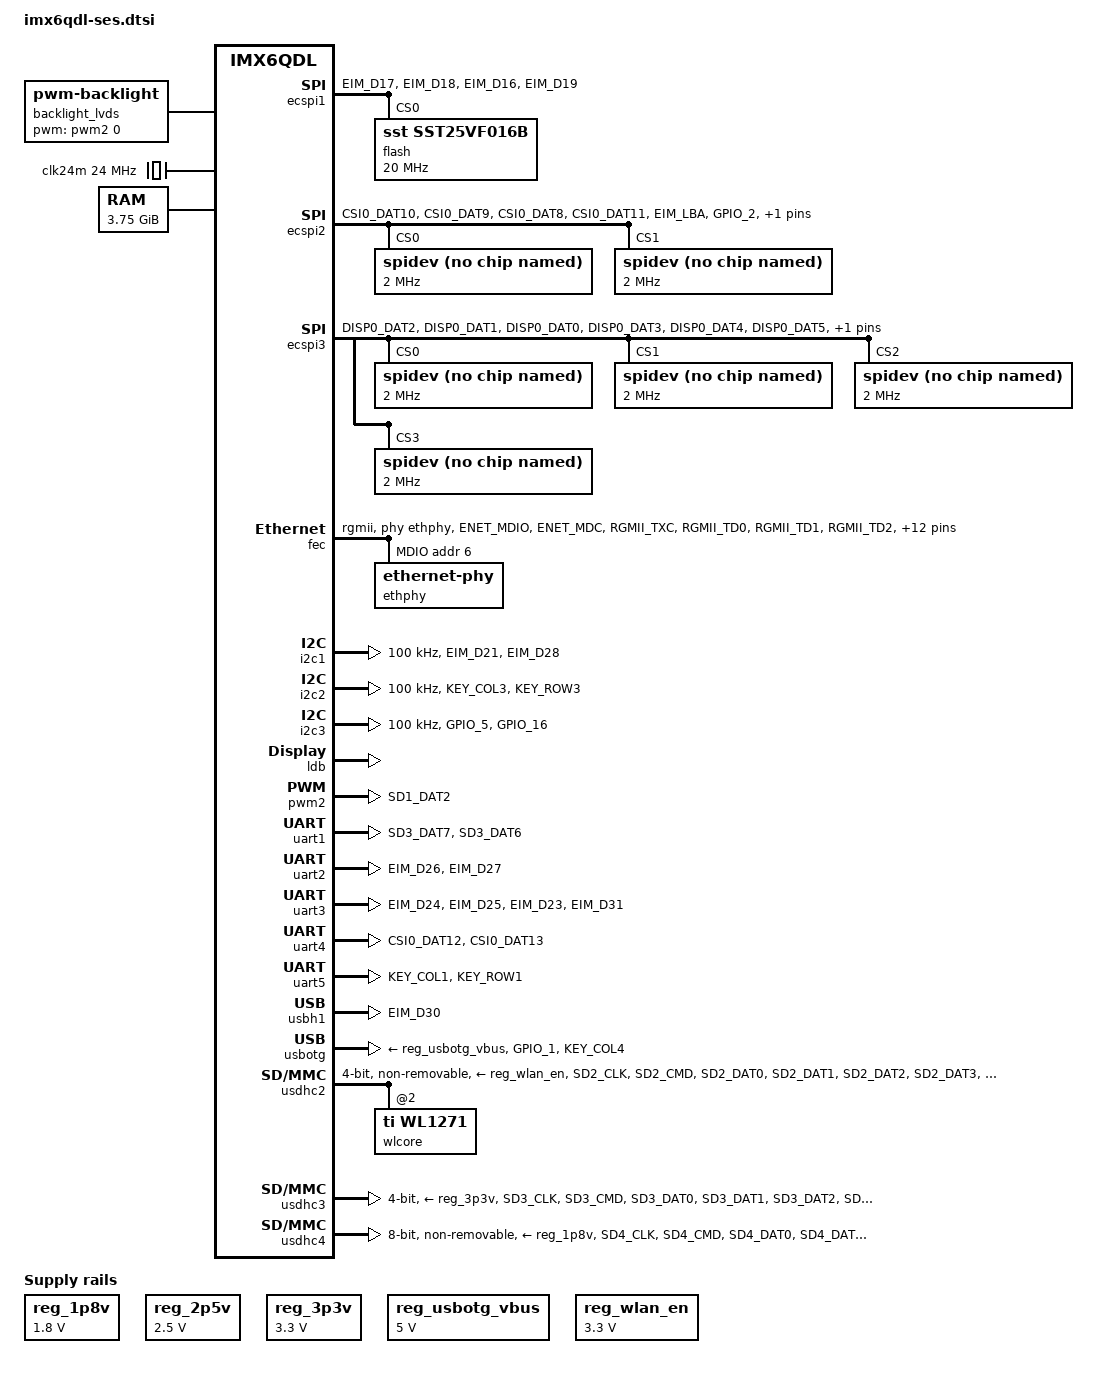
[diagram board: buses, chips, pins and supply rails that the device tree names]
// SPDX-License-Identifier: GPL-2.0+
/*
 * Copyright 2018 Boundary Devices, Inc.
 *
 */
#include <dt-bindings/gpio/gpio.h>
#include <dt-bindings/input/input.h>

&iomuxc {
	pinctrl-names = "default";
	pinctrl-0 = <&pinctrl_hog>;

	iomuxc_imx6q_ses: iomuxc-imx6q-sesgrp {
		status = "okay";
	};
};

&iomuxc_imx6q_ses {
	pinctrl_backlight_lvds: backlight-lvdsgrp {
		fsl,pins = <
#define GP_BACKLIGHT_LVDS_EN	<&gpio4 6 GPIO_ACTIVE_HIGH>
			MX6QDL_PAD_KEY_COL0__GPIO4_IO06		0x030b0
		>;
	};

	pinctrl_bt_rfkill: bt-rfkillgrp {
		fsl,pins = <
#define GP_BT_RFKILL_RESET	<&gpio6 16 GPIO_ACTIVE_LOW>
			MX6QDL_PAD_NANDF_CS3__GPIO6_IO16	0x030b0
		>;
	};

	pinctrl_ecspi1: ecspi1grp {
		fsl,pins = <
			MX6QDL_PAD_EIM_D17__ECSPI1_MISO		0x100b1
			MX6QDL_PAD_EIM_D18__ECSPI1_MOSI		0x100b1
			MX6QDL_PAD_EIM_D16__ECSPI1_SCLK		0x000b1
#define GP_ECSPI1_NOR_CS	<&gpio3 19 GPIO_ACTIVE_LOW>
			MX6QDL_PAD_EIM_D19__GPIO3_IO19		0x0b0b1
		>;
	};

	pinctrl_ecspi2: ecspi2grp {
		fsl,pins = <
			MX6QDL_PAD_CSI0_DAT10__ECSPI2_MISO	0x100b1
			MX6QDL_PAD_CSI0_DAT9__ECSPI2_MOSI	0x100b1
			MX6QDL_PAD_CSI0_DAT8__ECSPI2_SCLK	0x000b1
#define GP_ECSPI2_CS0	<&gpio5 29 GPIO_ACTIVE_LOW>
			MX6QDL_PAD_CSI0_DAT11__GPIO5_IO29	0x0b0b1
#define GP_ECSPI2_CS1	<&gpio2 27 GPIO_ACTIVE_LOW>
			MX6QDL_PAD_EIM_LBA__GPIO2_IO27		0x0b0b1
#define GP_ECSPI2_GPIO2	<&gpio1 2 GPIO_ACTIVE_HIGH>
			MX6QDL_PAD_GPIO_2__GPIO1_IO02		0x0b0b1
#define GP_ECSPI2_GPIO8	<&gpio1 8 GPIO_ACTIVE_HIGH>
			MX6QDL_PAD_GPIO_8__GPIO1_IO08		0x0b0b0
		>;
	};

	pinctrl_ecspi3: ecspi3grp {
		fsl,pins = <
			MX6QDL_PAD_DISP0_DAT2__ECSPI3_MISO	0x100b1
			MX6QDL_PAD_DISP0_DAT1__ECSPI3_MOSI	0x100b1
			MX6QDL_PAD_DISP0_DAT0__ECSPI3_SCLK	0x100b1
#define GP_ECSPI3_CS0	<&gpio4 24 GPIO_ACTIVE_LOW>
			MX6QDL_PAD_DISP0_DAT3__GPIO4_IO24	0x0b0b0
#define GP_ECSPI3_CS1	<&gpio4 25 GPIO_ACTIVE_LOW>
			MX6QDL_PAD_DISP0_DAT4__GPIO4_IO25	0x0b0b0
#define GP_ECSPI3_CS2	<&gpio4 26 GPIO_ACTIVE_LOW>
			MX6QDL_PAD_DISP0_DAT5__GPIO4_IO26	0x0b0b0
#define GP_ECSPI3_CS3	<&gpio4 27 GPIO_ACTIVE_LOW>
			MX6QDL_PAD_DISP0_DAT6__GPIO4_IO27	0x0b0b0
		>;
	};

	pinctrl_enet: enetgrp {
		fsl,pins = <
			MX6QDL_PAD_ENET_MDIO__ENET_MDIO		0x1b0b0
			MX6QDL_PAD_ENET_MDC__ENET_MDC		0x1b0b0
			MX6QDL_PAD_RGMII_TXC__RGMII_TXC		0x100b0
			MX6QDL_PAD_RGMII_TD0__RGMII_TD0		0x100b0
			MX6QDL_PAD_RGMII_TD1__RGMII_TD1		0x100b0
			MX6QDL_PAD_RGMII_TD2__RGMII_TD2		0x100b0
			MX6QDL_PAD_RGMII_TD3__RGMII_TD3		0x100b0
			MX6QDL_PAD_RGMII_TX_CTL__RGMII_TX_CTL	0x100b0
			MX6QDL_PAD_ENET_REF_CLK__ENET_TX_CLK	0x100b0
			MX6QDL_PAD_RGMII_RXC__RGMII_RXC		0x1b0b0
			MX6QDL_PAD_RGMII_RD0__RGMII_RD0		0x1b0b0
			MX6QDL_PAD_RGMII_RD1__RGMII_RD1		0x1b0b0
			MX6QDL_PAD_RGMII_RD2__RGMII_RD2		0x1b0b0
			MX6QDL_PAD_RGMII_RD3__RGMII_RD3		0x1b0b0
			MX6QDL_PAD_RGMII_RX_CTL__RGMII_RX_CTL	0x1b0b0
#define GP_ENET_PHY_RESET	<&gpio1 27 GPIO_ACTIVE_LOW>
			MX6QDL_PAD_ENET_RXD0__GPIO1_IO27	0x030b0
#define GPIRQ_ENET_PHY		<&gpio1 28 IRQ_TYPE_LEVEL_LOW>
			MX6QDL_PAD_ENET_TX_EN__GPIO1_IO28	0x1b0b0
#define GPIRQ_ENET		<&gpio1 6 IRQ_TYPE_LEVEL_HIGH>
			MX6QDL_PAD_GPIO_6__ENET_IRQ		0x000b1
		>;
	};

	pinctrl_hog: hoggrp {
		fsl,pins = <
			MX6QDL_PAD_SD1_CMD__GPIO1_IO18		0x1b0b0
			MX6QDL_PAD_SD1_DAT0__GPIO1_IO16		0x1b0b0
			MX6QDL_PAD_SD1_DAT1__GPIO1_IO17		0x1b0b0
			MX6QDL_PAD_ENET_TXD0__GPIO1_IO30	0x1b0b0
			MX6QDL_PAD_KEY_ROW4__GPIO4_IO15		0x1b0b0
			MX6QDL_PAD_GPIO_3__GPIO1_IO03		0x1b0b0
			MX6QDL_PAD_GPIO_19__GPIO4_IO05		0x1b0b0
			MX6QDL_PAD_NANDF_D7__GPIO2_IO07		0x1b0b0
		>;
	};

	pinctrl_i2c1: i2c1grp {
		fsl,pins = <
			MX6QDL_PAD_EIM_D21__I2C1_SCL		0x4001b8b1
			MX6QDL_PAD_EIM_D28__I2C1_SDA		0x4001b8b1
		>;
	};

	pinctrl_i2c1_1: i2c1_1grp {
		fsl,pins = <
#define GP_I2C1_SCL	<&gpio3 21 GPIO_ACTIVE_HIGH>
			MX6QDL_PAD_EIM_D21__GPIO3_IO21		0x4001b8b1
#define GP_I2C1_SDA	<&gpio3 28 GPIO_ACTIVE_HIGH>
			MX6QDL_PAD_EIM_D28__GPIO3_IO28		0x4001b8b1
		>;
	};

	pinctrl_i2c1_adc101: i2c1-adc101grp {
		fsl,pins = <
#define GPIRQ_I2C1_ADC101	<&gpio7 13 IRQ_TYPE_LEVEL_LOW>
			MX6QDL_PAD_GPIO_18__GPIO7_IO13		0x1b0b0
		>;
	};

	pinctrl_i2c2: i2c2grp {
		fsl,pins = <
			MX6QDL_PAD_KEY_COL3__I2C2_SCL		0x4001b8b1
			MX6QDL_PAD_KEY_ROW3__I2C2_SDA		0x4001b8b1
		>;
	};

	pinctrl_i2c2_1: i2c2_1grp {
		fsl,pins = <
#define GP_I2C2_SCL	<&gpio4 12 GPIO_ACTIVE_HIGH>
			MX6QDL_PAD_KEY_COL3__GPIO4_IO12		0x4001b8b1
#define GP_I2C2_SDA	<&gpio4 13 GPIO_ACTIVE_HIGH>
			MX6QDL_PAD_KEY_ROW3__GPIO4_IO13		0x4001b8b1
		>;
	};

	/* J39 */
	pinctrl_i2c3: i2c3grp {
		fsl,pins = <
			MX6QDL_PAD_GPIO_5__I2C3_SCL		0x4001b8b1
			MX6QDL_PAD_GPIO_16__I2C3_SDA		0x4001b8b1
		>;
	};

	pinctrl_i2c3_1: i2c3_1grp {
		fsl,pins = <
#define GP_I2C3_SCL	<&gpio1 5 GPIO_ACTIVE_HIGH>
			MX6QDL_PAD_GPIO_5__GPIO1_IO05		0x4001b8b1
#define GP_I2C3_SDA	<&gpio7 11 GPIO_ACTIVE_HIGH>
			MX6QDL_PAD_GPIO_16__GPIO7_IO11		0x4001b8b1
		>;
	};

	pinctrl_pwm2: pwm2grp {
		fsl,pins = <
			MX6QDL_PAD_SD1_DAT2__PWM2_OUT		0x030b1
		>;
	};

	pinctrl_reg_usbotg_vbus: reg-usbotg-vbusgrp {
		fsl,pins = <
#define GP_REG_USBOTG	<&gpio3 22 GPIO_ACTIVE_HIGH>
			MX6QDL_PAD_EIM_D22__GPIO3_IO22		0x030b0
		>;
	};

	pinctrl_reg_wlan_en: reg-wlan-engrp {
		fsl,pins = <
#define GP_REG_WLAN_EN	<&gpio2 5 GPIO_ACTIVE_HIGH>
			MX6QDL_PAD_NANDF_D5__GPIO2_IO05		0x030b0
		>;
	};

	/* J37 */
	pinctrl_uart1: uart1grp {
		fsl,pins = <
			MX6QDL_PAD_SD3_DAT7__UART1_TX_DATA	0x1b0b1
			MX6QDL_PAD_SD3_DAT6__UART1_RX_DATA	0x1b0b1
		>;
	};

	/* J30 */
	pinctrl_uart2: uart2grp {
		fsl,pins = <
			MX6QDL_PAD_EIM_D26__UART2_TX_DATA	0x1b0b1
			MX6QDL_PAD_EIM_D27__UART2_RX_DATA	0x1b0b1
		>;
	};

	/* Silex */
	pinctrl_uart3: uart3grp {
		fsl,pins = <
			MX6QDL_PAD_EIM_D24__UART3_TX_DATA	0x1b0b1
			MX6QDL_PAD_EIM_D25__UART3_RX_DATA	0x1b0b1
			MX6QDL_PAD_EIM_D23__UART3_CTS_B		0x1b0b1
			MX6QDL_PAD_EIM_D31__UART3_RTS_B		0x1b0b1
		>;
	};

	/* J38 */
	pinctrl_uart4: uart4grp {
		fsl,pins = <
			MX6QDL_PAD_CSI0_DAT12__UART4_TX_DATA	0x1b0b1
			MX6QDL_PAD_CSI0_DAT13__UART4_RX_DATA	0x1b0b1
		>;
	};

	/* J36 */
	pinctrl_uart5: uart5grp {
		fsl,pins = <
			MX6QDL_PAD_KEY_COL1__UART5_TX_DATA	0x0b0b1
			MX6QDL_PAD_KEY_ROW1__UART5_RX_DATA	0x1b0b1
		>;
	};

	pinctrl_usbh1: usbh1grp {
		fsl,pins = <
			MX6QDL_PAD_EIM_D30__USB_H1_OC		0x1b0b0
		>;
	};

	pinctrl_usbotg: usbotggrp {
		fsl,pins = <
			MX6QDL_PAD_GPIO_1__USB_OTG_ID		0x17059
			MX6QDL_PAD_KEY_COL4__USB_OTG_OC		0x1b0b0
		>;
	};

	/* Silex, TiWi wl1271 */
	pinctrl_usdhc2: usdhc2grp {
		fsl,pins = <
			MX6QDL_PAD_SD2_CLK__SD2_CLK		0x10071
			MX6QDL_PAD_SD2_CMD__SD2_CMD		0x17071
			MX6QDL_PAD_SD2_DAT0__SD2_DATA0		0x17071
			MX6QDL_PAD_SD2_DAT1__SD2_DATA1		0x17071
			MX6QDL_PAD_SD2_DAT2__SD2_DATA2		0x17071
			MX6QDL_PAD_SD2_DAT3__SD2_DATA3		0x17071
			MX6QDL_PAD_SD1_CLK__OSC32K_32K_OUT	0x000b0		/* slow clock */
#define GPIRQ_WL1271		<&gpio6 14 IRQ_TYPE_LEVEL_HIGH>
			MX6QDL_PAD_NANDF_CS1__GPIO6_IO14	0x100b0
#define GP_WIFI_WAKE		<&gpio2 1 IRQ_TYPE_LEVEL_HIGH>
			MX6QDL_PAD_NANDF_D1__GPIO2_IO01		0x100b0
#define GP_WIFI_QOW		<&gpio2 3 IRQ_TYPE_LEVEL_HIGH>
			MX6QDL_PAD_NANDF_D3__GPIO2_IO03		0x100b0
#define GPIRQ_BT_HOST_WAKE	<&gpio6 7 IRQ_TYPE_LEVEL_HIGH>
			MX6QDL_PAD_NANDF_CLE__GPIO6_IO07	0x100b0
#define GP_BT_CLK_REQ		<&gpio2 6 IRQ_TYPE_LEVEL_HIGH>
			MX6QDL_PAD_NANDF_D6__GPIO2_IO06		0x100b0
		>;
	};

	pinctrl_usdhc2_100mhz: usdhc2grp-100mhz {
		fsl,pins = <
			MX6QDL_PAD_SD2_CMD__SD2_CMD		0x170B9
			MX6QDL_PAD_SD2_CLK__SD2_CLK		0x100B9
			MX6QDL_PAD_SD2_DAT0__SD2_DATA0		0x170B9
			MX6QDL_PAD_SD2_DAT1__SD2_DATA1 		0x170B9
			MX6QDL_PAD_SD2_DAT2__SD2_DATA2 		0x170B9
			MX6QDL_PAD_SD2_DAT3__SD2_DATA3 		0x170B9
		>;
	};

	pinctrl_usdhc2_200mhz: usdhc2grp-200mhz {
		fsl,pins = <
			MX6QDL_PAD_SD2_CMD__SD2_CMD		0x170F9
			MX6QDL_PAD_SD2_CLK__SD2_CLK 		0x100F9
			MX6QDL_PAD_SD2_DAT0__SD2_DATA0		0x170F9
			MX6QDL_PAD_SD2_DAT1__SD2_DATA1 		0x170F9
			MX6QDL_PAD_SD2_DAT2__SD2_DATA2 		0x170F9
			MX6QDL_PAD_SD2_DAT3__SD2_DATA3 		0x170F9
		>;
	};

	pinctrl_usdhc3: usdhc3grp {
		fsl,pins = <
			MX6QDL_PAD_SD3_CLK__SD3_CLK		0x10059
			MX6QDL_PAD_SD3_CMD__SD3_CMD		0x17059
			MX6QDL_PAD_SD3_DAT0__SD3_DATA0		0x17059
			MX6QDL_PAD_SD3_DAT1__SD3_DATA1		0x17059
			MX6QDL_PAD_SD3_DAT2__SD3_DATA2		0x17059
			MX6QDL_PAD_SD3_DAT3__SD3_DATA3		0x17059
#define GP_USDHC3_CD		<&gpio7 0 GPIO_ACTIVE_LOW>
			MX6QDL_PAD_SD3_DAT5__GPIO7_IO00		0x1b0b0
		>;
	};

	pinctrl_usdhc4: usdhc4grp {
		fsl,pins = <
			MX6QDL_PAD_SD4_CLK__SD4_CLK		0x10059
			MX6QDL_PAD_SD4_CMD__SD4_CMD		0x17059
			MX6QDL_PAD_SD4_DAT0__SD4_DATA0		0x17059
			MX6QDL_PAD_SD4_DAT1__SD4_DATA1		0x17059
			MX6QDL_PAD_SD4_DAT2__SD4_DATA2		0x17059
			MX6QDL_PAD_SD4_DAT3__SD4_DATA3		0x17059
			MX6QDL_PAD_SD4_DAT4__SD4_DATA4		0x17059
			MX6QDL_PAD_SD4_DAT5__SD4_DATA5		0x17059
			MX6QDL_PAD_SD4_DAT6__SD4_DATA6		0x17059
			MX6QDL_PAD_SD4_DAT7__SD4_DATA7		0x17059
#define GP_EMMC_RESET		<&gpio6 8 GPIO_ACTIVE_LOW>
			MX6QDL_PAD_NANDF_ALE__GPIO6_IO08	0x130b0
		>;
	};
};

/ {
	aliases {
		backlight_lvds = &backlight_lvds;
		fb_lvds = &fb_lvds;
		fb_lvds2 = &fb_lvds2;
		ldb = &ldb;
		mmc0 = &usdhc3;
		mmc1 = &usdhc4;
		mmc2 = &usdhc2;
		mxcfb0 = &fb_lvds;
		mxcfb1 = &fb_lvds2;
		pwm_lvds = &pwm4;
		rtc1 = &snvs_rtc;
		t_lvds = &t_lvds;
		t_lvds2 = &t_lvds2;
	};

	backlight_lvds: backlight_lvds {
		brightness-levels = <0 1 2 3 4 5 6 7 8 9 10>;
		compatible = "pwm-backlight";
		default-brightness-level = <8>;
		display = <&fb_lvds>;
		enable-gpios = GP_BACKLIGHT_LVDS_EN;
		pinctrl-names = "default";
		pinctrl-0 = <&pinctrl_backlight_lvds>;
		pwms = <&pwm2 0 5000000>;
	};

	bt_rfkill {
		compatible = "net,rfkill-gpio";
		pinctrl-names = "default";
		pinctrl-0 = <&pinctrl_bt_rfkill>;
		name = "bt_rfkill";
		type = <2>;	/* bluetooth */
		reset-gpios = GP_BT_RFKILL_RESET;
	};

	clocks {
		clk24m: clk24m {
			compatible = "fixed-clock";
			#clock-cells = <0>;
			clock-frequency = <24000000>;
		};
	};

	fb_lvds: fb@0 {
		compatible = "fsl,mxc_sdc_fb";
		disp_dev = "ldb";
		interface_pix_fmt = "RGB666";
		default_bpp = <16>;
		int_clk = <0>;
		late_init = <0>;
		status = "disabled";
	};

	fb_lvds2: fb@1 {
		compatible = "fsl,mxc_sdc_fb";
		disp_dev = "ldb";
		interface_pix_fmt = "RGB666";
		default_bpp = <16>;
		int_clk = <0>;
		late_init = <0>;
		status = "disabled";
	};

	memory {
		reg = <0x10000000 0xeffffc00>;
	};

	regulators {
		compatible = "simple-bus";
		#address-cells = <1>;
		#size-cells = <0>;

		reg_1p8v: regulator@0 {
			compatible = "regulator-fixed";
			reg = <0>;
			regulator-name = "1P8V";
			regulator-min-microvolt = <1800000>;
			regulator-max-microvolt = <1800000>;
			regulator-always-on;
		};

		reg_2p5v: regulator@1 {
			compatible = "regulator-fixed";
			reg = <1>;
			regulator-name = "2P5V";
			regulator-min-microvolt = <2500000>;
			regulator-max-microvolt = <2500000>;
			regulator-always-on;
		};

		reg_3p3v: regulator@2 {
			compatible = "regulator-fixed";
			reg = <2>;
			regulator-name = "3P3V";
			regulator-min-microvolt = <3300000>;
			regulator-max-microvolt = <3300000>;
			regulator-always-on;
		};

		reg_usbotg_vbus: regulator@3 {
			compatible = "regulator-fixed";
			reg = <3>;
			pinctrl-names = "default";
			pinctrl-0 = <&pinctrl_reg_usbotg_vbus>;
			regulator-name = "usb_otg_vbus";
			regulator-min-microvolt = <5000000>;
			regulator-max-microvolt = <5000000>;
			gpio = GP_REG_USBOTG;
			enable-active-high;
		};

		reg_wlan_en: regulator@4 {
			compatible = "regulator-fixed";
			reg = <4>;
			pinctrl-names = "default";
			pinctrl-0 = <&pinctrl_reg_wlan_en>;
			regulator-name = "wlan-en";
			regulator-min-microvolt = <3300000>;
			regulator-max-microvolt = <3300000>;
			gpio = GP_REG_WLAN_EN;
			startup-delay-us = <70000>;
			enable-active-high;
		};
	};

	v4l2_out {
		compatible = "fsl,mxc_v4l2_output";
		status = "okay";
	};
};

&ecspi1 {
	pinctrl-names = "default";
	pinctrl-0 = <&pinctrl_ecspi1>;
	fsl,spi-num-chipselects = <1>;
	cs-gpios = GP_ECSPI1_NOR_CS;
	status = "okay";

	flash: m25p80@0 {
		compatible = "sst,sst25vf016b";
		spi-max-frequency = <20000000>;
		reg = <0>;
		#address-cells = <1>;
		#size-cells = <1>;
		mtd@00000000 {
			label = "U-Boot";
			reg = <0x0 0xC0000>;
		};

		mtd@000C0000 {
			label = "env";
			reg = <0xC0000 0x2000>;
		};
		mtd@000C2000 {
			label = "splash";
			reg = <0xC2000 0x13e000>;
		};
	};
};

&ecspi2 {
	pinctrl-names = "default";
	pinctrl-0 = <&pinctrl_ecspi2>;
	fsl,spi-num-chipselects = <2>;
	cs-gpios = GP_ECSPI2_CS0, GP_ECSPI2_CS1;
	status = "okay";

	spidev@0 {
		compatible = "spidev";
		spi-max-frequency = <2000000>;
		reg = <0>;
	};

	spidev@1 {
		compatible = "spidev";
		spi-max-frequency = <2000000>;
		reg = <1>;
	};
};

&ecspi3 {
	pinctrl-names = "default";
	pinctrl-0 = <&pinctrl_ecspi3>;
	fsl,spi-num-chipselects = <4>;
	cs-gpios = GP_ECSPI3_CS0, GP_ECSPI3_CS1, GP_ECSPI3_CS2, GP_ECSPI3_CS3;
	status = "okay";

	spidev@0 {
		compatible = "spidev";
		spi-max-frequency = <2000000>;
		reg = <0>;
	};

	spidev@1 {
		compatible = "spidev";
		spi-max-frequency = <2000000>;
		reg = <1>;
	};

	spidev@2 {
		compatible = "spidev";
		spi-max-frequency = <2000000>;
		reg = <2>;
	};

	spidev@3 {
		compatible = "spidev";
		spi-max-frequency = <2000000>;
		reg = <3>;
	};
};

&fec {
	interrupts-extended = GPIRQ_ENET,
			      <&gpc 0 119 IRQ_TYPE_LEVEL_HIGH>;
	phy-handle = <&ethphy>;
	phy-mode = "rgmii";
#if 0
	phy-reset-gpios = GP_ENET_PHY_RESET;
#endif
	pinctrl-names = "default";
	pinctrl-0 = <&pinctrl_enet>;
	status = "okay";

	mdio {
		#address-cells = <0>;
		#size-cells = <1>;

		ethphy: ethernet-phy@6 {
			reg = <6>;
			interrupts-extended = GPIRQ_ENET_PHY;
		};
	};
};

&i2c1 {
	clock-frequency = <100000>;
	pinctrl-names = "default", "gpio";
	pinctrl-0 = <&pinctrl_i2c1>;
	pinctrl-1 = <&pinctrl_i2c1_1>;
	scl-gpios = GP_I2C1_SCL;
	sda-gpios = GP_I2C1_SDA;
	status = "okay";

};

&i2c2 {
	clock-frequency = <100000>;
	pinctrl-names = "default", "gpio";
	pinctrl-0 = <&pinctrl_i2c2>;
	pinctrl-1 = <&pinctrl_i2c2_1>;
	scl-gpios = GP_I2C2_SCL;
	sda-gpios = GP_I2C2_SDA;
	status = "okay";

};

&i2c3 {
	clock-frequency = <100000>;
	pinctrl-names = "default", "gpio";
	pinctrl-0 = <&pinctrl_i2c3>;
	pinctrl-1 = <&pinctrl_i2c3_1>;
	scl-gpios = GP_I2C3_SCL;
	sda-gpios = GP_I2C3_SDA;
	status = "okay";

};

&ldb {
	status = "okay";

	lvds-channel@0 {
		crtc = "ipu1-di1";
		fsl,data-mapping = "spwg";
		fsl,data-width = <18>;
		status = "okay";
		primary;

		display-timings {
			t_lvds: t_lvds_default {
				clock-frequency = <148500000>;
				hactive = <1920>;
				vactive = <1080>;
				hback-porch = <148>;
				hfront-porch = <88>;
				vback-porch = <36>;
				vfront-porch = <4>;
				hsync-len = <44>;
				vsync-len = <5>;
			};
		};
	};

	lvds-channel@1 {
		crtc = "ipu1-di0";
		fsl,data-mapping = "spwg";
		fsl,data-width = <18>;
		status = "okay";

		display-timings {
			t_lvds2: t_lvds2_default {
				/* lg1280x800 values may be changed in bootscript */
				clock-frequency = <72000000>;
				hactive = <1280>;
				vactive = <800>;
				hback-porch = <48>;
				hfront-porch = <80>;
				vback-porch = <15>;
				vfront-porch = <2>;
				hsync-len = <32>;
				vsync-len = <6>;
			};
		};
	};
};

&pwm2 {
	pinctrl-names = "default";
	pinctrl-0 = <&pinctrl_pwm2>;
	status = "okay";
};

&uart1 {
	pinctrl-names = "default";
	pinctrl-0 = <&pinctrl_uart1>;
	status = "okay";
};

&uart2 {
	pinctrl-names = "default";
	pinctrl-0 = <&pinctrl_uart2>;
	status = "okay";
};

&uart3 {
	pinctrl-names = "default";
	pinctrl-0 = <&pinctrl_uart3>;
	uart-has-rtscts;
	status = "okay";
};

&uart4 {
	pinctrl-names = "default";
	pinctrl-0 = <&pinctrl_uart4>;
	status = "okay";
};

&uart5 {
	pinctrl-names = "default";
	pinctrl-0 = <&pinctrl_uart5>;
	status = "okay";
};

&usbh1 {
	pinctrl-names = "default";
	pinctrl-0 = <&pinctrl_usbh1>;
	status = "okay";
};

&usbotg {
	pinctrl-names = "default";
	pinctrl-0 = <&pinctrl_usbotg>;
	status = "okay";
	vbus-supply = <&reg_usbotg_vbus>;
};

&usdhc2 {	/* uSDHC2, Silex, TiWi wl1271 */
	pinctrl-names = "default", "state_100mhz", "state_200mhz";
	pinctrl-0 = <&pinctrl_usdhc2>;
	pinctrl-1 = <&pinctrl_usdhc2_100mhz>;
	pinctrl-2 = <&pinctrl_usdhc2_200mhz>;
	bus-width = <4>;
	non-removable;
	vmmc-supply = <&reg_wlan_en>;
	vqmmc-1-8-v;
	cap-power-off-card;
	keep-power-in-suspend;
	status = "okay";

	#address-cells = <1>;
	#size-cells = <0>;
	wlcore: wlcore@2 {
		compatible = "ti,wl1271";
		interrupts-extended = GPIRQ_WL1271;
		reg = <2>;
		ref-clock-frequency = <38400000>;
	};
};

&usdhc3 {
	pinctrl-names = "default";
	pinctrl-0 = <&pinctrl_usdhc3>;
	bus-width = <4>;
	cd-gpios = GP_USDHC3_CD;
	vmmc-supply = <&reg_3p3v>;
	status = "okay";
};

&usdhc4 {
	pinctrl-names = "default";
	pinctrl-0 = <&pinctrl_usdhc4>;
	bus-width = <8>;
	non-removable;
	vqmmc-1-8-v;
	vmmc-supply = <&reg_1p8v>;
	keep-power-in-suspend;
	status = "okay";
};
